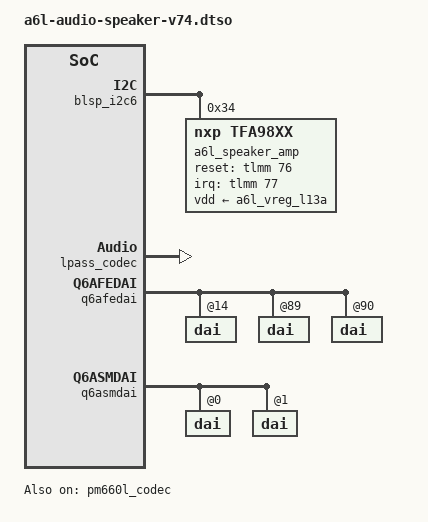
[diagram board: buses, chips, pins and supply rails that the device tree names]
// SPDX-License-Identifier: GPL-2.0-only
// V74 CANDIDATE (audio2 agent, 23 Sep 2026), never booted. SUPERSET of a6l-audio-internal.dtso: use it INSTEAD of that file
// (not on top of it). Adds the loudspeaker path: NXP TFA9894 smart amp (I2C 0x34 on c1b6000 = blsp_i2c6) fed by TERTIARY MI2S
// (AFE port 0x1004, LPI gpio4 SCK / gpio5 WS / gpio6 SD0 / gpio7 SD1, stock "func4").
// Needs, before the card can bind (otherwise the WHOLE card defers, headset included):
//   * pinctrl-sdm660-lpass-lpi.ko rebuilt with a6l-lpi-ter-mi2s-v74.patch (functions ter_mi2s_clk/ws/data), and
//   * snd-soc-tfa98xx.ko (tfa98xx-a6l port) loaded before the machine driver, /lib/firmware/tfa98xx.cnt (stock container).
// Stock facts (firmware/extracted/device-trees/stock-00.dts): tfa98xx@34 { vdd-supply = pm660_l13; reset-gpio = tlmm 76;
// irq-gpio = tlmm 77 }, qcom,msm-dai-q6-mi2s-tert { rx-lines = 0x2 (SD1), tx-lines = 0x1 (SD0 = amp feedback, unused here) },
// audio_platform_info: SND_DEVICE_OUT_SPEAKER -> TERT_MI2S_RX; mixer_paths "speaker": TERT_MI2S_RX Audio Mixer MultiMedia1 = 1.
// sm8250.c already handles TERTIARY_MI2S_RX (TER_MI2S_IBIT 1.536 MHz, CPU = clock master, codec BC_FC I2S).
/dts-v1/;
/plugin/;

&lpi_tlmm {
    a6l_ter_mi2s_default: a6l-ter-mi2s-default-state {
        clk-pins { pins = "gpio4"; function = "ter_mi2s_clk"; drive-strength = <8>; bias-disable; };
        ws-pins { pins = "gpio5"; function = "ter_mi2s_ws"; drive-strength = <8>; bias-disable; };
        data-pins { pins = "gpio6", "gpio7"; function = "ter_mi2s_data"; drive-strength = <8>; bias-disable; };
    };
};

&blsp_i2c6 {
    #address-cells = <1>;
    #size-cells = <0>;
    status = "okay";                               /* already okay (front ALS at 0x47) */
    a6l_speaker_amp: audio-amplifier@34 {
        compatible = "nxp,tfa98xx";                /* tfa98xx-a6l driver; also accepts "tfa,tfa9894" */
        reg = <0x34>;
        vdd-supply = <&a6l_vreg_l13a>;             /* pm660 L13 1.8 V (the driver does not switch it; already on) */
        reset-gpio = <&tlmm 76 0>;                 /* GPIO_ACTIVE_HIGH, as stock */
        irq-gpio = <&tlmm 77 0>;
        pinctrl-names = "default";
        pinctrl-0 = <&a6l_ter_mi2s_default>;       /* LPI pins muxed when the amp probes (stock switches active/sleep) */
        #sound-dai-cells = <0>;
    };
};

&pm660l_codec {
    vdd-cdc-io-supply = <&a6l_vreg_s4a>;
    vdd-cdc-tx-rx-cx-supply = <&a6l_vreg_s4a>;
    vdd-micbias-supply = <&vreg_l7b>;
    qcom,micbias-lvl = <2600>;
    qcom,micbias1-ext-cap;
    status = "okay";
};
&lpass_codec { status = "okay"; };

&q6afedai {
    #address-cells = <1>;
    #size-cells = <0>;
    dai@20 { reg = <20>; qcom,sd-lines = <1>; };      /* TERTIARY_MI2S_RX: stock rx-lines 0x2 = SD1 (gpio7) */
    dai@137 { reg = <137>; qcom,sd-lines = <0 1>; };  /* LPI_MI2S_RX_0 */
    dai@144 { reg = <144>; qcom,sd-lines = <0 1>; };  /* LPI_MI2S_TX_3 */
};
&q6asmdai {
    #address-cells = <1>;
    #size-cells = <0>;
    dai@0 { reg = <0>; };
    dai@1 { reg = <1>; };
};

&sound {
    compatible = "qcom,sdm660-sndcard";
    model = "Hisense A6L";
    pinctrl-names = "default";
    pinctrl-0 = <&cdc_pdm_default>, <&cdc_dmic_default>;
    audio-routing = "PDM_RX1", "Digital PDM_RX1", "PDM_RX2", "Digital PDM_RX2", "PDM_RX3", "Digital PDM_RX3",
                    "Digital LPASS_PDM_TX", "PDM_TX", "AMIC1", "MIC BIAS External1", "AMIC2", "MIC BIAS External2";
    // ORDER IS REVERSED ON PURPOSE (see a6l-audio-internal.dtso): fdtoverlay prepends new children, so the merged DTB reads
    // mm1, mm2, tert, int0, int3 -> q6asm-dai probes before the first q6routing platform. Assert MultiMedia1 is link 0.
    int3-mi2s-dai-link {
        link-name = "Internal MI2S Capture";
        cpu { sound-dai = <&q6afedai 144>; };
        platform { sound-dai = <&q6routing>; };
        codec { sound-dai = <&pm660l_codec 1>, <&lpass_codec 1>; };
    };
    int0-mi2s-dai-link {
        link-name = "Internal MI2S Playback";
        cpu { sound-dai = <&q6afedai 137>; };
        platform { sound-dai = <&q6routing>; };
        codec { sound-dai = <&pm660l_codec 0>, <&lpass_codec 0>; };
    };
    tert-mi2s-dai-link {
        link-name = "Speaker Playback";
        cpu { sound-dai = <&q6afedai 20>; };             /* TERTIARY_MI2S_RX */
        platform { sound-dai = <&q6routing>; };
        codec { sound-dai = <&a6l_speaker_amp>; };
    };
    mm2-dai-link { link-name = "MultiMedia2"; cpu { sound-dai = <&q6asmdai 1>; }; };
    mm1-dai-link { link-name = "MultiMedia1"; cpu { sound-dai = <&q6asmdai 0>; }; };
};

/ {
    fragment@90 {
        target-path = "/remoteproc/glink-edge/rpm-requests/regulators-1";
        __overlay__ { a6l_vreg_s4a: s4 { regulator-min-microvolt = <1805000>; regulator-max-microvolt = <2040000>; regulator-enable-ramp-delay = <200>; regulator-always-on; }; };
    };
    fragment@91 { target-path = "/chosen"; __overlay__ { hisense,a6l-audio = "a1-speaker-v74"; }; };
};
